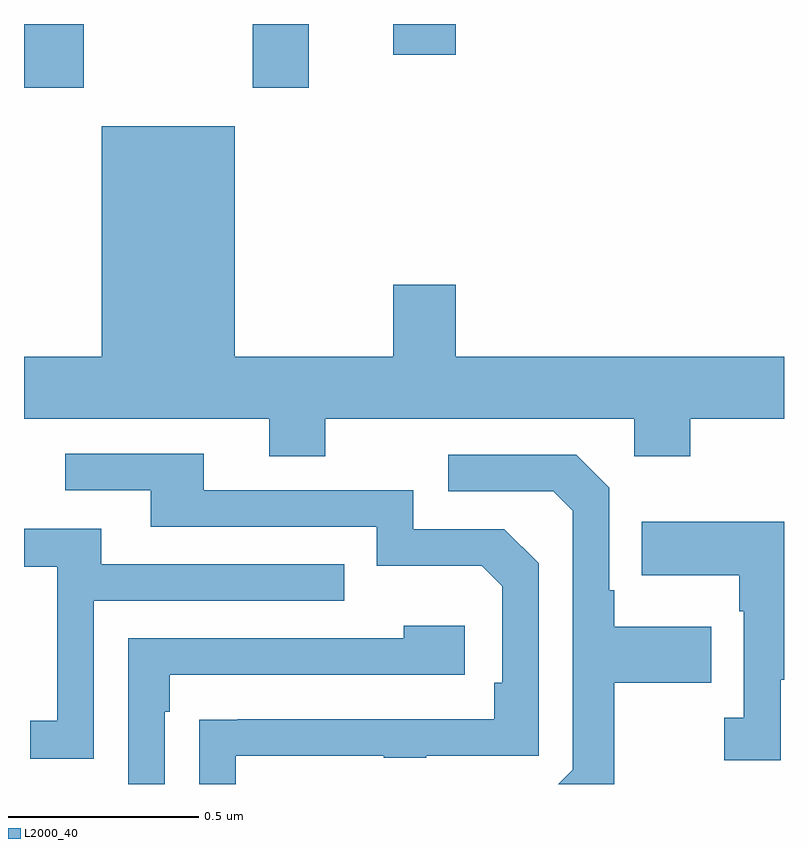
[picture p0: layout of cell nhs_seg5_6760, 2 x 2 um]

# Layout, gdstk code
import gdstk
lib = gdstk.Library(unit=1e-6, precision=1e-09)
def R(c, l, rs):  # rectangles x0, y0, x1, y1
    for r in rs: c.add(gdstk.rectangle(r[:2], r[2:], *l))
def P(c, l, *ps):  # polygons
    for p in ps: c.add(gdstk.Polygon(p, *l))
L2000_40 = (2000, 40)

nhs_seg5_6760 = lib.new_cell('nhs_seg5_6760')
R(nhs_seg5_6760, L2000_40, [(200,857.631,200.157,857.799), (200.602,857.631,200.749,857.799), (200.972,857.718,201.136,857.799)])
P(nhs_seg5_6760, L2000_40, [(200.793,856.76),(201.606,856.76),(201.606,856.661),(201.753,856.661),(201.753,856.76),(202,856.76),(202,856.924),(201.136,856.924),(201.136,857.113),(200.972,857.113),(200.972,856.924),(200.554,856.924),(200.554,857.53),(200.204,857.53),(200.204,856.924),(200,856.924),(200,856.76),(200.645,856.76),(200.645,856.661),(200.793,856.661)],
  [(200.557,855.873),(200.947,855.873),(200.947,855.868),(201.059,855.868),(201.059,855.873),(201.354,855.873),(201.354,856.38),(201.264,856.47),(201.024,856.47),(201.024,856.572),(200.473,856.572),(200.473,856.668),(200.109,856.668),(200.109,856.572),(200.333,856.572),(200.333,856.476),(200.928,856.476),(200.928,856.373),(201.205,856.373),(201.258,856.32),(201.258,856.066),(201.238,856.066),(201.238,855.969),(200.563,855.969),(200.563,855.968),(200.461,855.968),(200.461,855.799),(200.557,855.799)],
  [(201.553,856.066),(201.809,856.066),(201.809,856.213),(201.553,856.213),(201.553,856.309),(201.54,856.309),(201.54,856.578),(201.453,856.665),(201.117,856.665),(201.117,856.569),(201.393,856.569),(201.444,856.518),(201.444,855.837),(201.406,855.799),(201.553,855.799)],
  [(201.991,856.073),(202,856.073),(202,856.489),(201.625,856.489),(201.625,856.349),(201.882,856.349),(201.882,856.253),(201.894,856.253),(201.894,855.974),(201.843,855.974),(201.843,855.861),(201.991,855.861)],
  [(200.184,856.281),(200.843,856.281),(200.843,856.377),(200.203,856.377),(200.203,856.471),(200,856.471),(200,856.371),(200.088,856.371),(200.088,855.966),(200.016,855.966),(200.016,855.865),(200.184,855.865)],
  [(200.37,855.989),(200.383,855.989),(200.383,856.086),(201.16,856.086),(201.16,856.216),(200.999,856.216),(200.999,856.182),(200.274,856.182),(200.274,855.799),(200.37,855.799)])

lib.write_gds('nhs_seg5_6760.gds')
